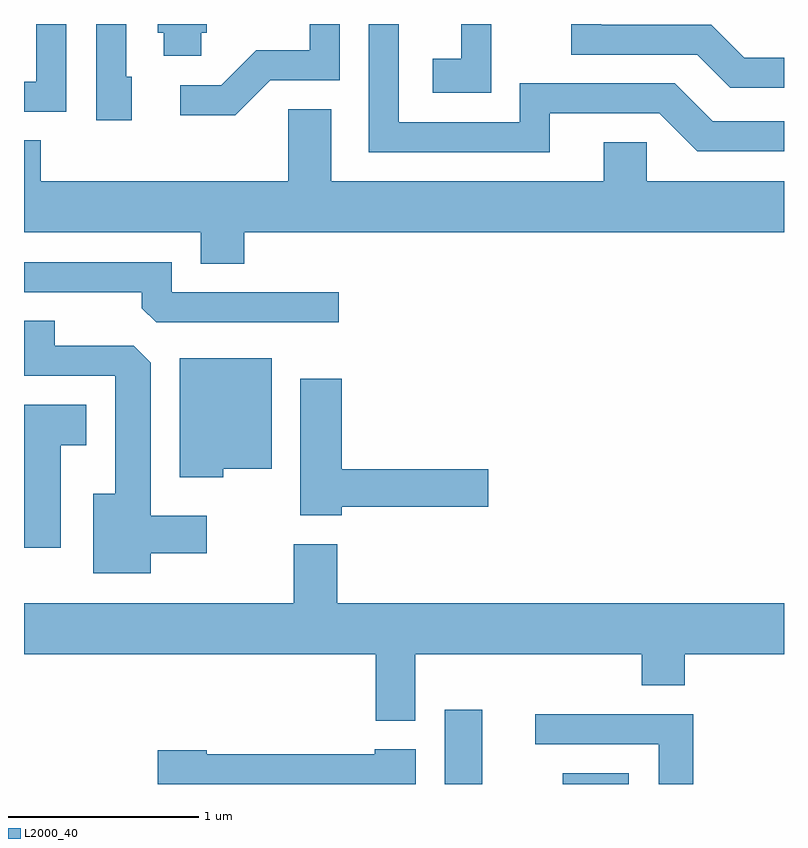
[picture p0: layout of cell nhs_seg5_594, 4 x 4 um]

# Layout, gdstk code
import gdstk
lib = gdstk.Library(unit=1e-6, precision=1e-09)
def R(c, l, rs):  # rectangles x0, y0, x1, y1
    for r in rs: c.add(gdstk.rectangle(r[:2], r[2:], *l))
def P(c, l, *ps):  # polygons
    for p in ps: c.add(gdstk.Polygon(p, *l))
L2000_40 = (2000, 40)

nhs_seg5_594 = lib.new_cell('nhs_seg5_594')
R(nhs_seg5_594, L2000_40, [(203.826,1496.072,204.024,1496.464), (204.446,1496.072,204.794,1496.129)])
P(nhs_seg5_594, L2000_40, [(202.907,1499.776),(203.274,1499.776),(203.274,1500.072),(203.116,1500.072),(203.116,1499.934),(202.834,1499.934),(202.649,1499.749),(202.433,1499.749),(202.433,1499.591),(202.722,1499.591)],
  [(205.611,1499.894),(205.402,1499.894),(205.227,1500.069),(204.649,1500.069),(204.649,1500.072),(204.491,1500.072),(204.491,1499.911),(205.154,1499.911),(205.329,1499.736),(205.611,1499.736)],
  [(204.069,1500.072),(203.911,1500.072),(203.911,1499.889),(203.761,1499.889),(203.761,1499.711),(204.069,1499.711)],
  [(202.179,1499.794),(202.149,1499.794),(202.149,1500.072),(201.991,1500.072),(201.991,1499.566),(202.179,1499.566)],
  [(201.834,1500.072),(201.676,1500.072),(201.676,1499.769),(201.611,1499.769),(201.611,1499.611),(201.834,1499.611)],
  [(204.379,1499.601),(204.954,1499.601),(205.154,1499.401),(205.611,1499.401),(205.611,1499.559),(205.237,1499.559),(205.037,1499.759),(204.221,1499.759),(204.221,1499.554),(203.584,1499.554),(203.584,1500.072),(203.426,1500.072),(203.426,1499.396),(204.379,1499.396)],
  [(202.544,1500.026),(202.574,1500.026),(202.574,1500.072),(202.316,1500.072),(202.316,1500.026),(202.346,1500.026),(202.346,1499.906),(202.544,1499.906)],
  [(202.769,1498.976),(205.611,1498.976),(205.611,1499.244),(204.889,1499.244),(204.889,1499.449),(204.661,1499.449),(204.661,1499.244),(203.229,1499.244),(203.229,1499.624),(203.001,1499.624),(203.001,1499.244),(201.699,1499.244),(201.699,1499.459),(201.611,1499.459),(201.611,1498.976),(202.541,1498.976),(202.541,1498.811),(202.769,1498.811)],
  [(203.268,1498.659),(202.389,1498.659),(202.389,1498.819),(201.611,1498.819),(201.611,1498.661),(202.231,1498.661),(202.231,1498.577),(202.307,1498.501),(203.268,1498.501)],
  [(202.279,1497.286),(202.574,1497.286),(202.574,1497.484),(202.279,1497.484),(202.279,1498.289),(202.189,1498.379),(201.774,1498.379),(201.774,1498.509),(201.611,1498.509),(201.611,1498.221),(202.091,1498.221),(202.091,1497.599),(201.976,1497.599),(201.976,1497.181),(202.279,1497.181)],
  [(202.659,1497.731),(202.914,1497.731),(202.914,1498.314),(202.431,1498.314),(202.431,1497.686),(202.659,1497.686)],
  [(203.284,1497.531),(204.054,1497.531),(204.054,1497.729),(203.284,1497.729),(203.284,1498.204),(203.066,1498.204),(203.066,1497.486),(203.284,1497.486)],
  [(201.804,1497.856),(201.939,1497.856),(201.939,1498.069),(201.611,1498.069),(201.611,1497.316),(201.804,1497.316)],
  [(203.669,1496.756),(204.861,1496.756),(204.861,1496.591),(205.089,1496.591),(205.089,1496.756),(205.611,1496.756),(205.611,1497.024),(203.259,1497.024),(203.259,1497.334),(203.031,1497.334),(203.031,1497.024),(201.611,1497.024),(201.611,1496.756),(203.461,1496.756),(203.461,1496.406),(203.669,1496.406)],
  [(205.134,1496.439),(204.303,1496.439),(204.303,1496.281),(204.951,1496.281),(204.951,1496.072),(205.134,1496.072)],
  [(203.674,1496.254),(203.456,1496.254),(203.456,1496.229),(202.574,1496.229),(202.574,1496.249),(202.316,1496.249),(202.316,1496.072),(203.674,1496.072)])

lib.write_gds('nhs_seg5_594.gds')
